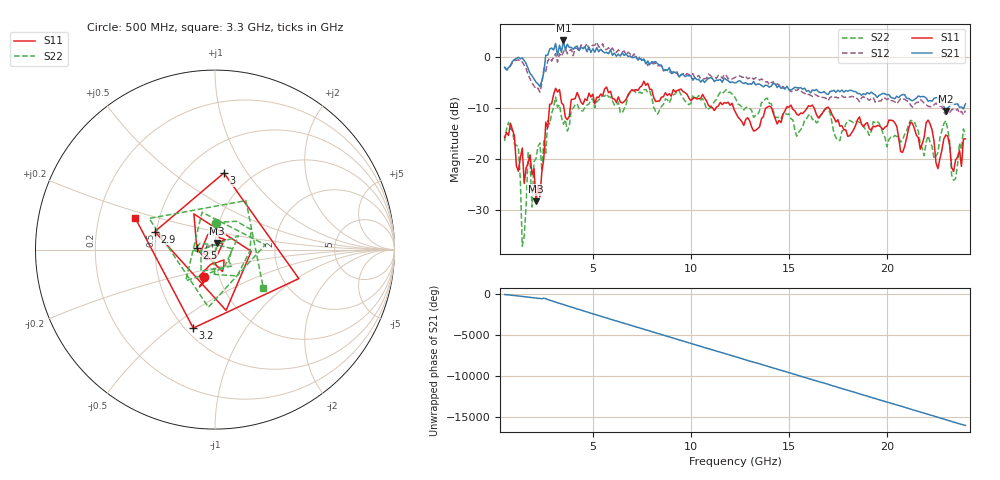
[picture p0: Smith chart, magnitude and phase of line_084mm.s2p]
!Created with skrf (http://scikit-rf.org).
# GHz S RI R 50.0
!freq ReS11 ImS11 ReS21 ImS21 ReS12 ImS12 ReS22 ImS22
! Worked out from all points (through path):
!   236 points, 500 MHz to 24 GHz, reference 50 ohm
!   highest |S21| = 3.23 dB at 3.5 GHz (marker M1); lowest = -10.6 dB at 23 GHz (marker M2)
!   lowest |S11| = -28.2 dB at 2.1 GHz (marker M3), VSWR 1.08, Z = 51 + j3.79 ohm
!   |S11| at or under -10 dB: start of sweep to 2.784 GHz; 12.18 GHz to 13.83 GHz (1.648 GHz wide, 12.7 % of centre); 17.04 GHz to end of sweep (the widest 3 of 8)
!   |S22| runs from -37.0 to -6.4 dB; largest |S21 - S12| = 2.5
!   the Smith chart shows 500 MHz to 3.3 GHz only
!   S11 on the Smith chart (normalised r, x): 500 MHz: 0.85, -0.26; 2.5 GHz: 0.82, +0.01; 2.9 GHz: 0.49, +0.11; 3 GHz: 0.75, +0.79; 3.2 GHz: 0.55, -0.60; 3.3 GHz: 0.36, +0.17
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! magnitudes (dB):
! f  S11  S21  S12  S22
! 500 MHz  -15.7  -2.0  -1.9  -16.4
! 1.2 GHz  -22.3  0.0  -0.5  -17.5
! 1.4 GHz  -17.8  -0.2  -0.9  -37.0
! 1.7 GHz  -20.8  -2.3  -3.5  -18.7
! 1.9 GHz  -23.0  -3.7  -5.1  -29.3
! 2.1 GHz  -28.2  -4.9  -6.2  -19.8
! 2.5 GHz  -19.9  -3.0  -2.3  -16.4
! 2.9 GHz  -9.1  1.8  -0.8  -11.0
! 3 GHz  -7.3  1.3  0.0  -9.8
! 3.2 GHz  -6.9  0.3  -1.0  -9.8
! 3.3 GHz  -6.4  2.3  0.6  -9.3
! 3.5 GHz  -9.4  3.2  1.0  -13.1
! 4.5 GHz  -9.3  1.6  1.8  -10.5
! 8.4 GHz  -8.6  -1.6  -1.7  -10.4
! 12.3 GHz  -11.0  -5.1  -3.9  -8.3
! 16.2 GHz  -9.4  -6.4  -7.7  -12.3
! 20.1 GHz  -12.3  -7.3  -8.1  -16.1
! 22.1 GHz  -12.3  -8.7  -9.6  -15.4
! 22.6 GHz  -21.8  -7.9  -9.4  -18.7
! 23 GHz  -15.3  -10.6  -11.3  -12.5
! 23.4 GHz  -22.4  -9.3  -10.2  -24.1
! 24 GHz  -16.0  -9.2  -10.5  -15.2
